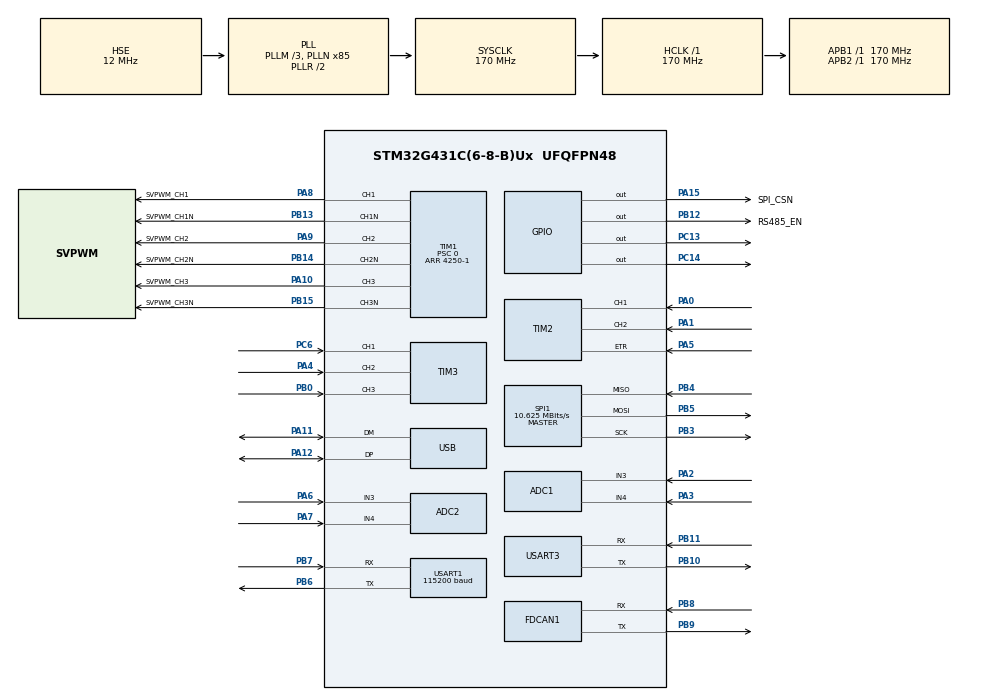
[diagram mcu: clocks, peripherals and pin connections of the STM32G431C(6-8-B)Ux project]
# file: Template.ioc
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ADC1.Channel-0\#ChannelRegularConversion=ADC_CHANNEL_3
ADC1.EnableInjectedConversion=ENABLE
ADC1.ExternalTrigConv=ADC_SOFTWARE_START
ADC1.ExternalTrigInjecConv=ADC_EXTERNALTRIGINJEC_T1_CC4
ADC1.ExternalTrigInjecConvEdge=ADC_EXTERNALTRIGINJECCONV_EDGE_FALLING
ADC1.InjNumberOfConversion=2
ADC1.InjectedChannel-2\#ChannelInjectedConversion=ADC_CHANNEL_3
ADC1.InjectedChannel-3\#ChannelInjectedConversion=ADC_CHANNEL_4
ADC1.InjectedOffsetNumber-2\#ChannelInjectedConversion=ADC_OFFSET_NONE
ADC1.InjectedOffsetNumber-3\#ChannelInjectedConversion=ADC_OFFSET_NONE
ADC1.InjectedRank-2\#ChannelInjectedConversion=1
ADC1.InjectedRank-3\#ChannelInjectedConversion=2
ADC1.InjectedSamplingTime-2\#ChannelInjectedConversion=ADC_SAMPLETIME_6CYCLES_5
ADC1.InjectedSamplingTime-3\#ChannelInjectedConversion=ADC_SAMPLETIME_6CYCLES_5
ADC1.NbrOfConversion=1
ADC1.NbrOfConversionFlag=1
ADC1.OffsetNumber-0\#ChannelRegularConversion=ADC_OFFSET_NONE
ADC1.Rank-0\#ChannelRegularConversion=1
ADC1.Rank1_Channel=ADC_CHANNEL_3
ADC1.Rank2_Channel=ADC_CHANNEL_4
ADC1.SamplingTime-0\#ChannelRegularConversion=ADC_SAMPLETIME_6CYCLES_5
ADC1.master=1
ADC2.Channel-2\#ChannelRegularConversion=ADC_CHANNEL_3
ADC2.Channel-3\#ChannelRegularConversion=ADC_CHANNEL_4
ADC2.NbrOfConversion=2
ADC2.NbrOfConversionFlag=1
ADC2.OffsetNumber-2\#ChannelRegularConversion=ADC_OFFSET_NONE
ADC2.OffsetNumber-3\#ChannelRegularConversion=ADC_OFFSET_NONE
ADC2.Rank-2\#ChannelRegularConversion=1
ADC2.Rank-3\#ChannelRegularConversion=2
ADC2.SamplingTime-2\#ChannelRegularConversion=ADC_SAMPLETIME_12CYCLES_5
ADC2.SamplingTime-3\#ChannelRegularConversion=ADC_SAMPLETIME_12CYCLES_5
Dma.Request0=USART1_TX
Dma.Request1=USART1_RX
Dma.USART1_RX.1.Direction=DMA_PERIPH_TO_MEMORY
Dma.USART1_RX.1.EventEnable=DISABLE
Dma.USART1_RX.1.Instance=DMA1_Channel2
Dma.USART1_RX.1.MemDataAlignment=DMA_MDATAALIGN_BYTE
Dma.USART1_RX.1.MemInc=DMA_MINC_ENABLE
Dma.USART1_RX.1.Mode=DMA_NORMAL
Dma.USART1_RX.1.PeriphDataAlignment=DMA_PDATAALIGN_BYTE
Dma.USART1_RX.1.PeriphInc=DMA_PINC_DISABLE
Dma.USART1_RX.1.Polarity=HAL_DMAMUX_REQ_GEN_RISING
Dma.USART1_RX.1.Priority=DMA_PRIORITY_HIGH
Dma.USART1_RX.1.RequestNumber=1
Dma.USART1_RX.1.SignalID=NONE
Dma.USART1_RX.1.SyncEnable=DISABLE
Dma.USART1_RX.1.SyncPolarity=HAL_DMAMUX_SYNC_NO_EVENT
Dma.USART1_RX.1.SyncRequestNumber=1
Dma.USART1_RX.1.SyncSignalID=NONE
Dma.USART1_TX.0.Direction=DMA_MEMORY_TO_PERIPH
Dma.USART1_TX.0.EventEnable=DISABLE
Dma.USART1_TX.0.Instance=DMA1_Channel1
Dma.USART1_TX.0.MemDataAlignment=DMA_MDATAALIGN_BYTE
Dma.USART1_TX.0.MemInc=DMA_MINC_ENABLE
Dma.USART1_TX.0.Mode=DMA_NORMAL
Dma.USART1_TX.0.PeriphDataAlignment=DMA_PDATAALIGN_BYTE
Dma.USART1_TX.0.PeriphInc=DMA_PINC_DISABLE
Dma.USART1_TX.0.Polarity=HAL_DMAMUX_REQ_GEN_RISING
Dma.USART1_TX.0.Priority=DMA_PRIORITY_HIGH
Dma.USART1_TX.0.RequestNumber=1
Dma.USART1_TX.0.SignalID=NONE
Dma.USART1_TX.0.SyncEnable=DISABLE
Dma.USART1_TX.0.SyncPolarity=HAL_DMAMUX_SYNC_NO_EVENT
Dma.USART1_TX.0.SyncRequestNumber=1
Dma.USART1_TX.0.SyncSignalID=NONE
FDCAN1.CalculateBaudRateNominal=1062500
FDCAN1.CalculateTimeBitNominal=941
FDCAN1.CalculateTimeQuantumNominal=94.11764705882354
FDCAN1.DataPrescaler=16
FDCAN1.DataTimeSeg1=10
FDCAN1.DataTimeSeg2=9
FDCAN1.FrameFormat=FDCAN_FRAME_CLASSIC
FDCAN1.NominalTimeSeg1=5
FDCAN1.NominalTimeSeg2=4
FDCAN1.ProtocolException=DISABLE
FDCAN1.StdFiltersNbr=2
Mcu.Family=STM32G4
Mcu.Name=STM32G431C(6-8-B)Ux
Mcu.Package=UFQFPN48
NVIC.ADC1_2_IRQn=true\:0\:0\:false\:false\:true\:true\:true\:true
NVIC.DMA1_Channel1_IRQn=true\:2\:0\:true\:false\:true\:false\:true\:true
NVIC.DMA1_Channel2_IRQn=true\:0\:0\:false\:false\:true\:false\:true\:true
NVIC.FDCAN1_IT0_IRQn=true\:1\:0\:true\:false\:true\:true\:true\:true
NVIC.PriorityGroup=NVIC_PRIORITYGROUP_2
NVIC.TIM1_UP_TIM16_IRQn=true\:0\:1\:false\:false\:true\:true\:true\:true
NVIC.TIM6_DAC_IRQn=true\:2\:0\:true\:false\:true\:true\:true\:true
NVIC.USART1_IRQn=true\:1\:0\:true\:false\:true\:true\:true\:true
NVIC.USB_LP_IRQn=true\:1\:0\:true\:false\:true\:false\:true\:true
PA0.Signal=S_TIM2_CH1
PA1.Signal=S_TIM2_CH2
PA10.GPIO_Label=SVPWM_CH3
PA10.Signal=S_TIM1_CH3
PA11.Mode=Device
PA11.Signal=USB_DM
PA12.Mode=Device
PA12.Signal=USB_DP
PA13.Mode=Serial_Wire
PA13.Signal=SYS_JTMS-SWDIO
PA14.Mode=Serial_Wire
PA14.Signal=SYS_JTCK-SWCLK
PA15.GPIO_Label=SPI_CSN
PA15.Signal=GPIO_Output
PA2.Mode=IN3-Single-Ended
PA2.Signal=ADC1_IN3
PA3.Mode=IN4-Single-Ended
PA3.Signal=ADC1_IN4
PA4.Signal=S_TIM3_CH2
PA5.Signal=S_TIM2_ETR
PA6.Mode=IN3-Single-Ended
PA6.Signal=ADC2_IN3
PA7.Mode=IN4-Single-Ended
PA7.Signal=ADC2_IN4
PA8.GPIO_Label=SVPWM_CH1
PA8.Signal=S_TIM1_CH1
PA9.GPIO_Label=SVPWM_CH2
PA9.Signal=S_TIM1_CH2
PB0.Signal=S_TIM3_CH3
PB10.Mode=Asynchronous
PB10.Signal=USART3_TX
PB11.Mode=Asynchronous
PB11.Signal=USART3_RX
PB12.GPIO_Label=RS485_EN
PB12.Signal=GPIO_Output
PB13.GPIO_Label=SVPWM_CH1N
PB13.Mode=PWM Generation1 CH1 CH1N
PB13.Signal=TIM1_CH1N
PB14.GPIO_Label=SVPWM_CH2N
PB14.Mode=PWM Generation2 CH2 CH2N
PB14.Signal=TIM1_CH2N
PB15.GPIO_Label=SVPWM_CH3N
PB15.Mode=PWM Generation3 CH3 CH3N
PB15.Signal=TIM1_CH3N
PB3.Mode=Full_Duplex_Master
PB3.Signal=SPI1_SCK
PB4.Mode=Full_Duplex_Master
PB4.Signal=SPI1_MISO
PB5.Mode=Full_Duplex_Master
PB5.Signal=SPI1_MOSI
PB6.GPIO_PuPd=GPIO_NOPULL
PB6.GPIO_Speed=GPIO_SPEED_FREQ_LOW
PB6.Mode=Asynchronous
PB6.Signal=USART1_TX
PB7.GPIO_PuPd=GPIO_NOPULL
PB7.GPIO_Speed=GPIO_SPEED_FREQ_LOW
PB7.Mode=Asynchronous
PB7.Signal=USART1_RX
PB8-BOOT0.Mode=FDCAN_Activate
PB8-BOOT0.Signal=FDCAN1_RX
PB9.Mode=FDCAN_Activate
PB9.Signal=FDCAN1_TX
PC13.Signal=GPIO_Output
PC14-OSC32_IN.Signal=GPIO_Output
PC6.Signal=S_TIM3_CH1
PF0-OSC_IN.Mode=HSE-External-Oscillator
PF0-OSC_IN.Signal=RCC_OSC_IN
PF1-OSC_OUT.Mode=HSE-External-Oscillator
PF1-OSC_OUT.Signal=RCC_OSC_OUT
ProjectManager.HeapSize=0x1500
ProjectManager.StackSize=0x1500
ProjectManager.TargetToolchain=CMake
RCC.ADC12Freq_Value=170000000
RCC.AHBFreq_Value=170000000
RCC.APB1Freq_Value=170000000
RCC.APB1TimFreq_Value=170000000
RCC.APB2Freq_Value=170000000
RCC.APB2TimFreq_Value=170000000
RCC.CK48CLockSelection=RCC_USBCLKSOURCE_HSI48
RCC.CortexFreq_Value=170000000
RCC.EXTERNAL_CLOCK_VALUE=12288000
RCC.HCLKFreq_Value=170000000
RCC.HSE_VALUE=12000000
RCC.HSI48_VALUE=48000000
RCC.HSI_VALUE=16000000
RCC.LSE_VALUE=32768
RCC.PLLM=RCC_PLLM_DIV3
RCC.PLLN=85
RCC.PLLSourceVirtual=RCC_PLLSOURCE_HSE
RCC.SYSCLKFreq_VALUE=170000000
RCC.SYSCLKSource=RCC_SYSCLKSOURCE_PLLCLK
RCC.USBFreq_Value=48000000
RCC.VCOOutputFreq_Value=340000000
SH.S_TIM1_CH1.0=TIM1_CH1,PWM Generation1 CH1 CH1N
SH.S_TIM1_CH2.0=TIM1_CH2,PWM Generation2 CH2 CH2N
SH.S_TIM1_CH3.0=TIM1_CH3,PWM Generation3 CH3 CH3N
SH.S_TIM2_CH1.0=TIM2_CH1,Encoder_Interface_w_index
SH.S_TIM2_CH2.0=TIM2_CH2,Encoder_Interface_w_index
SH.S_TIM2_ETR.0=TIM2_ETR,Encoder_Interface_w_index
SH.S_TIM3_CH1.0=TIM3_CH1,Xored_Inputs_Hall_Sensor_Interface
SH.S_TIM3_CH2.0=TIM3_CH2,Xored_Inputs_Hall_Sensor_Interface
SH.S_TIM3_CH3.0=TIM3_CH3,Xored_Inputs_Hall_Sensor_Interface
SPI1.BaudRatePrescaler=SPI_BAUDRATEPRESCALER_16
SPI1.CLKPhase=SPI_PHASE_2EDGE
SPI1.CalculateBaudRate=10.625 MBits/s
SPI1.DataSize=SPI_DATASIZE_16BIT
SPI1.Direction=SPI_DIRECTION_2LINES
SPI1.Mode=SPI_MODE_MASTER
SPI1.VirtualType=VM_MASTER
STMicroelectronics.X-CUBE-ALGOBUILD.1.4.0.LibraryCcDSPOoLibraryJjDSPOoLibrary=true
TIM1.AutoReloadPreload=TIM_AUTORELOAD_PRELOAD_ENABLE
TIM1.Channel-PWM\ Generation1\ CH1\ CH1N=TIM_CHANNEL_1
TIM1.Channel-PWM\ Generation2\ CH2\ CH2N=TIM_CHANNEL_2
TIM1.Channel-PWM\ Generation3\ CH3\ CH3N=TIM_CHANNEL_3
TIM1.Channel-PWM\ Generation4\ No\ Output=TIM_CHANNEL_4
TIM1.CounterMode=TIM_COUNTERMODE_CENTERALIGNED1
TIM1.DeadTime=50
TIM1.OCMode_PWM-PWM\ Generation1\ CH1\ CH1N=TIM_OCMODE_PWM1
TIM1.OCMode_PWM-PWM\ Generation2\ CH2\ CH2N=TIM_OCMODE_PWM1
TIM1.OCMode_PWM-PWM\ Generation3\ CH3\ CH3N=TIM_OCMODE_PWM1
TIM1.OCMode_PWM-PWM\ Generation4\ No\ Output=TIM_OCMODE_PWM1
TIM1.PeriodNoDither=4250-1
TIM1.Prescaler=0
TIM1.PulseNoDither_4=4250-10
TIM1.RepetitionCounter=0
TIM1.TIM_MasterOutputTrigger=TIM_TRGO_RESET
TIM6.AutoReloadPreload=TIM_AUTORELOAD_PRELOAD_ENABLE
TIM6.PeriodNoDither=1000 - 1
TIM6.Prescaler=17 - 1
USART1.AutoBaudRateEnableParam=UART_ADVFEATURE_AUTOBAUDRATE_DISABLE
USART1.BaudRate=115200
USART1.FIFOMode=FIFOMODE_ENABLE
USART1.VirtualMode-Asynchronous=VM_ASYNC
USART3.VirtualMode-Asynchronous=VM_ASYNC
USB_DEVICE.CLASS_NAME_FS=CDC
USB_DEVICE.VirtualMode=Cdc
USB_DEVICE.VirtualModeFS=Cdc_FS
VP_STMicroelectronics.X-CUBE-ALGOBUILD_VS_DSPOoLibraryJjLibrary_1.4.0_1.4.0.Mode=DSPOoLibraryJjLibrary
VP_SYS_VS_DBSignals.Mode=DisableDeadBatterySignals
VP_TIM1_VS_ClockSourceINT.Mode=Internal
VP_TIM1_VS_no_output4.Mode=PWM Generation4 No Output
VP_TIM6_VS_ClockSourceINT.Mode=Enable_Timer
VP_USB_DEVICE_VS_USB_DEVICE_CDC_FS.Mode=CDC_FS
board=custom

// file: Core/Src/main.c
/* USER CODE BEGIN Header */
/**
 ******************************************************************************
 * @file           : main.c
 * @brief          : Main program body
 ******************************************************************************
 * @attention
 *
 * Copyright (c) 2026 STMicroelectronics.
 * All rights reserved.
 *
 * This software is licensed under terms that can be found in the LICENSE file
 * in the root directory of this software component.
 * If no LICENSE file comes with this software, it is provided AS-IS.
 *
 ******************************************************************************
 */
/* USER CODE END Header */
#include "main.h"
#include "adc.h"
#include "dma.h"
#include "fdcan.h"
#include "spi.h"
#include "stm32g4xx_hal.h"
#include "tim.h"
#include "usart.h"
#include "usb_device.h"
#include "gpio.h"

/* USER CODE BEGIN Includes */
#include "vofa.h"
#include "foc.h"
#include "arm_math.h"
#include "as5047.h"
#include <math.h>
/* USER CODE END Includes */

/* USER CODE BEGIN PD */
#define FOC_POWER_VOLTAGE      (8.0f)         // 母线电压 (V)
#define FOC_POLE_PAIRS         (14)           // 电机极对数
#define FOC_ANGLE_OFFSET       (0.35521821f) // 机械角度零偏校准值 (rad)
#define FOC_OPENLOOP_UD        (0.0f)         // 开环 d 轴电压 (标幺值)
#define FOC_OPENLOOP_UQ        (0.5f)         // 开环 q 轴电压 (标幺值)
#define AS5047P_LOWPASS_ALPHA  (0.15f)        // 编码器低通滤波系数

/* USER CODE END PD */

/* USER CODE BEGIN PV */
VOFA_Instance *vofa;
float vofa_sendfloat[8] = {0};
FOC_Instance *foc;

AS5047P_Instance *as5047p;
float as5047p_angle;
/* USER CODE END PV */

void SystemClock_Config(void);

/* USER CODE BEGIN 0 */
void HAL_TIM_PeriodElapsedCallback(TIM_HandleTypeDef *htim) {
  if (htim->Instance == TIM6) {
    as5047p_angle = -AS5047P_ReadAngle(as5047p);
    // FOC_EncoderOpenLoop(foc, FOC_OPENLOOP_UD, FOC_OPENLOOP_UQ, as5047p_angle);
    FOC_EncoderOpenLoopSVPWM(foc, FOC_OPENLOOP_UD, FOC_OPENLOOP_UQ, as5047p_angle);
    // FOC_OpenLoop(foc, 2.0f, 0.0f, 0.0f);

    /* 填充 VOFA 调试数据: 电角度, 机械角度, Uq, Ud */
    vofa_sendfloat[0] = foc->param.angle_electrical;
    vofa_sendfloat[1] = foc->param.angle_mechanical;
    vofa_sendfloat[2] = 0.0f;
    vofa_sendfloat[3] = 0.0f;
    // vofa_sendfloat[3] = angle_avg;
  }
}
/* USER CODE END 0 */

int main(void)
{

  /* MCU Configuration--------------------------------------------------------*/

  /* Reset of all peripherals, Initializes the Flash interface and the Systick. */
  HAL_Init();

  /* Configure the system clock */
  SystemClock_Config();

  /* Initialize all configured peripherals */
  MX_GPIO_Init();
  MX_DMA_Init();
  MX_ADC1_Init();
  MX_FDCAN1_Init();
  MX_SPI1_Init();
  MX_TIM1_Init();
  MX_TIM2_Init();
  MX_TIM3_Init();
  MX_USART1_UART_Init();
  MX_USART3_UART_Init();
  MX_USB_Device_Init();
  MX_ADC2_Init();
  MX_TIM6_Init();
  /* USER CODE BEGIN 2 */
  vofa = VOFA_Register(&huart1);
  if (vofa == NULL)
    while (1)
      ;

  FOC_InitTypedef init = {
    .powerVol = FOC_POWER_VOLTAGE,
    .tim = &htim1,
    .pole_pairs = FOC_POLE_PAIRS,
  };
  foc = FOC_Register(&init);
  if (foc == NULL)
    while (1)
      ;

  as5047p = AS5047P_Register(&hspi1, GPIOA, GPIO_PIN_15, AS5047P_LOWPASS_ALPHA);

  HAL_Delay(500);
  HAL_TIM_Base_Start_IT(&htim6);
  FOC_Init(foc, FOC_ANGLE_OFFSET);
  /* USER CODE END 2 */

  /* Infinite loop */
  /* USER CODE BEGIN WHILE */
  while (1) {
    VOFA_Send(vofa, vofa_sendfloat, 4);
    HAL_Delay(5);
    /* USER CODE END WHILE */

  }
}

void SystemClock_Config(void)
{
  RCC_OscInitTypeDef RCC_OscInitStruct = {0};
  RCC_ClkInitTypeDef RCC_ClkInitStruct = {0};

  /** Configure the main internal regulator output voltage
  */
  HAL_PWREx_ControlVoltageScaling(PWR_REGULATOR_VOLTAGE_SCALE1_BOOST);

  /** Initializes the RCC Oscillators according to the specified parameters
  * in the RCC_OscInitTypeDef structure.
  */
  RCC_OscInitStruct.OscillatorType = RCC_OSCILLATORTYPE_HSI48|RCC_OSCILLATORTYPE_HSE;
  RCC_OscInitStruct.HSEState = RCC_HSE_ON;
  RCC_OscInitStruct.HSI48State = RCC_HSI48_ON;
  RCC_OscInitStruct.PLL.PLLState = RCC_PLL_ON;
  RCC_OscInitStruct.PLL.PLLSource = RCC_PLLSOURCE_HSE;
  RCC_OscInitStruct.PLL.PLLM = RCC_PLLM_DIV3;
  RCC_OscInitStruct.PLL.PLLN = 85;
  RCC_OscInitStruct.PLL.PLLP = RCC_PLLP_DIV2;
  RCC_OscInitStruct.PLL.PLLQ = RCC_PLLQ_DIV2;
  RCC_OscInitStruct.PLL.PLLR = RCC_PLLR_DIV2;
  if (HAL_RCC_OscConfig(&RCC_OscInitStruct) != HAL_OK)
  {
    Error_Handler();
  }

  /** Initializes the CPU, AHB and APB buses clocks
  */
  RCC_ClkInitStruct.ClockType = RCC_CLOCKTYPE_HCLK|RCC_CLOCKTYPE_SYSCLK
                              |RCC_CLOCKTYPE_PCLK1|RCC_CLOCKTYPE_PCLK2;
  RCC_ClkInitStruct.SYSCLKSource = RCC_SYSCLKSOURCE_PLLCLK;
  RCC_ClkInitStruct.AHBCLKDivider = RCC_SYSCLK_DIV1;
  RCC_ClkInitStruct.APB1CLKDivider = RCC_HCLK_DIV1;
  RCC_ClkInitStruct.APB2CLKDivider = RCC_HCLK_DIV1;

  if (HAL_RCC_ClockConfig(&RCC_ClkInitStruct, FLASH_LATENCY_4) != HAL_OK)
  {
    Error_Handler();
  }
}

void Error_Handler(void)
{
  __disable_irq();
  while (1) {
  }
}
#ifdef USE_FULL_ASSERT
/**
  * @brief  Reports the name of the source file and the source line number
  *         where the assert_param error has occurred.
  * @param  file: pointer to the source file name
  * @param  line: assert_param error line source number
  * @retval None
  */
void assert_failed(uint8_t *file, uint32_t line)
{
  /* USER CODE BEGIN 6 */
  /* User can add his own implementation to report the file name and line
     number, ex: printf("Wrong parameters value: file %s on line %d\r\n", file,
     line) */
  /* USER CODE END 6 */
}
#endif /* USE_FULL_ASSERT */
